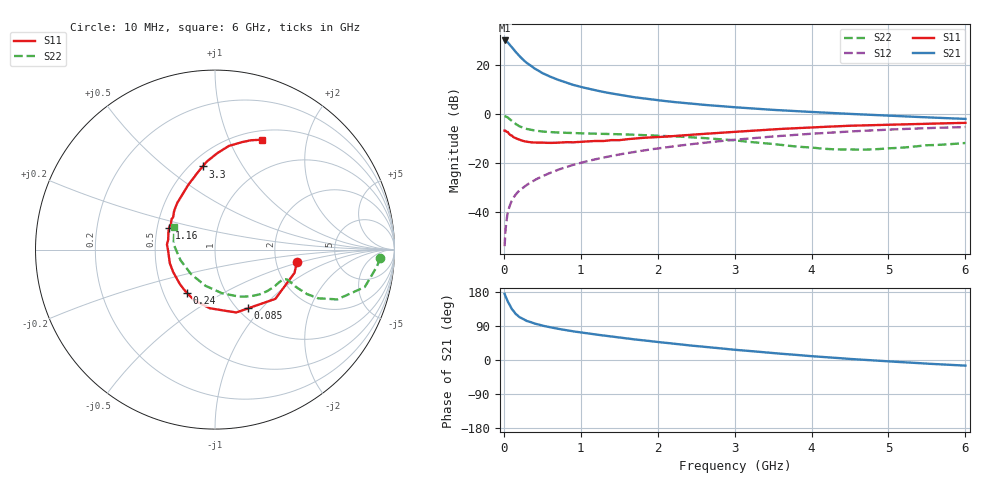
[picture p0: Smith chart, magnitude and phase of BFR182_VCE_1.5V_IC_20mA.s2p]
! Infineon Technologies  Discrete & RF Semiconductors
! BFR182
! VCE =  1.5 V,  IC =  20 mA
! Common Emitter S-Parameters:  Nov 2015
# GHz  S  MA  R  50
!  f  S11  S21  S12  S22
! GHz  MAG  ANG  MAG  ANG  MAG  ANG  MAG  ANG
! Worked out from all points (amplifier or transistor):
!   210 points, 10 MHz to 6 GHz, reference 50 ohm
!   highest |S21| = 30.2 dB at 10 MHz (marker M1)
!   |S21| within 3 dB of that: start of sweep to 110.7 MHz
!   unconditionally stable (mu >= 1): 378.6 MHz to 2.943 GHz
!   at 185 MHz: K = 0.77, MSG = 28.1 dB, |S12| = -31.8 dB
!   at 1.52 GHz: K = 1.10, MAG = 10.2 dB, |S12| = -16.4 dB
!   at 6 GHz: K = 0.94, MSG = 1.7 dB, |S12| = -5.2 dB
!   S11 on the Smith chart (normalised r, x): 10 MHz: 2.62, -0.46; 85 MHz: 1.11, -0.85; 240 MHz: 0.66, -0.34; 1.16 GHz: 0.58, +0.15; 3.3 GHz: 0.58, +0.68; 6 GHz: 0.61, +1.34
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0.01  0.4619 -8.6  32.33 174.5  0.002 80.0  0.9219 -2.8
0.02  0.4615 -16.3  31.9 168.9  0.0039 83.2  0.9075 -5.9
0.05  0.4342 -39.2  29.69 154.2  0.0096 75.3  0.8603 -14.0
0.085  0.3755 -60.7  25.41 141.8  0.0145 70.9  0.7709 -19.5
0.1  0.3697 -71.4  24.03 135.3  0.0166 69.8  0.7351 -22.2
0.15  0.3281 -95.1  19.13 122.1  0.0224 67.0  0.6377 -25.2
0.2  0.3046 -112.4  15.61 113.6  0.0273 67.2  0.5706 -25.8
0.24  0.2871 -123.1  13.52 108.9  0.0305 67.8  0.535 -25.4
0.3  0.2739 -135.9  11.16 102.9  0.0359 69.1  0.4995 -24.8
0.4  0.2645 -151.8  8.618 96.2  0.0448 71.0  0.464 -23.5
0.5  0.263 -163.1  6.962 90.7  0.0537 71.9  0.443 -22.7
0.7  0.2619 -179.7  5.1 82.4  0.0726 72.6  0.4233 -23.0
0.9  0.2666 168.1  3.996 75.6  0.092 71.8  0.4121 -24.1
1.02  0.2741 161.5  3.563 72.2  0.1034 71.6  0.4067 -25.3
1.16  0.2823 154.9  3.176 68.3  0.117 70.9  0.401 -27.0
1.6  0.3087 138.2  2.358 56.9  0.1599 67.5  0.3863 -33.3
2.02  0.3417 125.8  1.921 47.2  0.2017 63.8  0.3648 -40.8
3.1  0.4465 101.6  1.357 25.4  0.3106 51.9  0.2816 -66.3
3.3  0.4686 98.4  1.29 21.9  0.3304 49.5  0.2621 -73.0
4.1  0.5466 87.2  1.093 8.7  0.4078 39.4  0.2009 -110.2
5.1  0.6179 75.8  0.921 -4.8  0.4924 26.2  0.204 -168.2
6  0.6666 66.7  0.803 -14.9  0.547 13.4  0.2585 151.2
